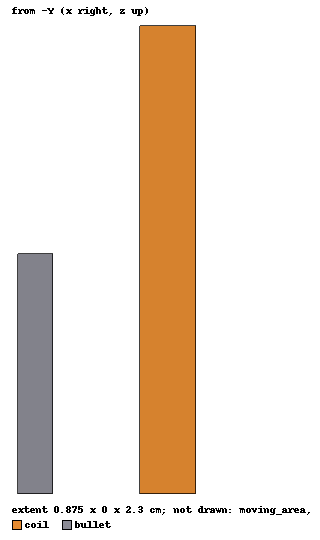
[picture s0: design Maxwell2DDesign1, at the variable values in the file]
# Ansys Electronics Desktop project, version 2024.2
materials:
  vacuum: permittivity=1
  air: permittivity=1.0006 permeability=1.0000004
  iron: permeability=4000 conductivity=10300000
  copper: permeability=0.999991 conductivity=58000000

design Maxwell2DDesign1 (Maxwell 2D, Transient, about Z geometry, model units cm)
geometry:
  bullet [iron] = rectangle(corner=(0cm, 0cm, 0cm), z_size=1.18cm, x_size=0.17cm)
  coil [copper] = rectangle(corner=(0.6cm, 0cm, 0cm), z_size=2.3cm, x_size=0.275cm)
  moving_area [air] = rectangle(corner=(0cm, 0cm, -1.5cm), z_size=20cm, x_size=0.4cm)
  Region [air] = region(percentage_offset: +X=100, -X=100, +Y=0, -Y=0, +Z=100, -Z=100)
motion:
  MotionSetup1: Band Move_Type=Translate Coordinate_System=Global PostProcessing_Coordinate_System=Global Axis=Z Is_Positive=true InitPos=0cm NegativePos=0cm PositivePos=5cm Velocity=0m_per_sec Mass=1gram Damping=0 Load_Force=0newton Objects=moving_area
  Moving1: Moving Objects=bullet
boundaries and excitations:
  Balloon1: Balloon Edges=Region.edge(at (1.75, 0, 8.5), at (0.875, 0, 38.5), at (0.875, 0, -21.5))
  Symmetry1: Symmetry Edges=Region.edge(at (0, 0, 8.5)) IsOdd=true
  Rectangle2: Coil Objects=coil Conductor_number=77 Winding=Winding1 PolarityType=Positive
  Winding1: Winding Group Type=External IsSolid=false Current=0mA ParallelBranchesNum=1
  eddy effects on: coil
  external circuit: "* Design: Project1_ckt"
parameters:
  Force1: Force Reference_CS=Global Objects=bullet
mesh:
  Length1: LengthBased Objects=coil MaxLength=0.4cm
  Length2: LengthBased Objects=bullet MaxLength=0.2cm
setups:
  Setup1: Transient NonlinearSolverResidual=0.0001 StopTime=5ms TimeStep=0.5ms SaveFieldsType=Custom SweepRanges{0ms to 5ms step 0.5ms} NumberSolveSteps=1 RangeStart=0s RangeEnd=0.1s InitialTimeStep=0.002s MinTimeStep=0.001s MaxTimeStep=0.003s TimeStepErrTolerance=0.0001
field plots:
  Flux_Lines1: A over Region on Setup1 : Transient at Time=0s
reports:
  Position Plot 1: Position vs Time on Setup1 : Transient
  Speed Plot 1: Moving1.Speed vs Time on Setup1 : Transient
  Winding Plot 1: Current(Winding1) vs Time on Setup1 : Transient
  Force Plot 1: Force1.Force_z vs Time on Setup1 : Transient

design Project1_ckt (Maxwell Circuit)
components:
  Winding_2 = Winding(Name=Winding1)
  Cap_3 = Cap(IC=100V C=1000uF)
  DIODE_Model_5 = DIODE_Model(DeviceName=D1)
  DIODE_7 = DIODE(MOD=D1)
  SW_V_8 = SW_V(MOD=SW1 ID_V=IVoltmeter16)
  SW_VModel_9 = SW_VModel(DeviceName=SW1)
  VPulse_10 = VPulse()
  Res_11 = Res(R=20mOhm)
  Res_13 = Res()
  VoltmeterG_16 = VoltmeterG()
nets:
  0: Cap_3.1, Res_13.0, Winding_2.1, VPulse_10.1, DIODE_7.0
  net_1: Winding_2.0, Res_11.1
  net_3: Cap_3.0, SW_V_8.0
  net_5: DIODE_7.1, SW_V_8.1, Res_11.0
  net_7: Res_13.1, VPulse_10.0, VoltmeterG_16.0
